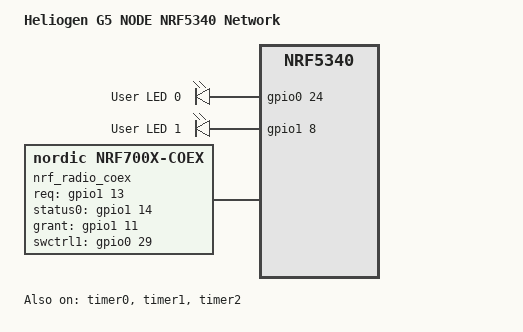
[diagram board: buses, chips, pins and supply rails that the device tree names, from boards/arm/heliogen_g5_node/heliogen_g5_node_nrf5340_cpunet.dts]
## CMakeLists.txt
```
#
# Copyright (c) 2022 Nordic Semiconductor ASA
#
# SPDX-License-Identifier: LicenseRef-Nordic-5-Clause
#

cmake_minimum_required(VERSION 3.20.0)

# find_package(Git)

# if(GIT_FOUND)
# 	execute_process(
# 		COMMAND git describe --tags --long
# 		WORKING_DIRECTORY ${CMAKE_CURRENT_SOURCE_DIR}
# 		OUTPUT_VARIABLE version
# 		OUTPUT_STRIP_TRAILING_WHITESPACE
# 		ERROR_STRIP_TRAILING_WHITESPACE
# 		ERROR_VARIABLE stderr
# 		RESULT_VARIABLE return_code
# 	)

# 	if(return_code)
# 		message(STATUS "git describe failed: ${stderr}; ${KERNEL_VERSION_STRING} will be used instead")
# 	elseif(CMAKE_VERBOSE_MAKEFILE)
# 		message(STATUS "git describe stderr: ${stderr}")
# 	endif()
# endif()

# if(version)
# 	string(REGEX REPLACE "^([0-9]+).*$" "\\1" version_major ${version})
# 	string(REGEX REPLACE "^[0-9]+\.([0-9]+).*$" "\\1" version_minor "${version}")
# 	string(REGEX REPLACE "^[0-9]+\.[0-9]+\.([0-9]+).*$" "\\1" version_patch "${version}")
# 	string(REGEX REPLACE "^[0-9]+\.[0-9]+\.[0-9]+-([0-9]+)-.*$" "\\1" version_commit "${version}")
# 	string(REGEX REPLACE "^[0-9]+\.[0-9]+\.[0-9]+-[0-9]+-(.*)$" "\\1" version_hash "${version}")

# 	# Create version.conf
# 	file(WRITE conf/version.conf "CONFIG_APP_VERSION_MAJOR=${version_major}\n")
# 	file(APPEND conf/version.conf "CONFIG_APP_VERSION_MINOR=${version_minor}\n")
# 	file(APPEND conf/version.conf "CONFIG_APP_VERSION_PATCH=${version_patch}\n")
# 	file(APPEND conf/version.conf "CONFIG_APP_VERSION_COMMIT=${version_commit}\n")
# 	file(APPEND conf/version.conf "CONFIG_APP_VERSION_HASH=\"${version_hash}\"\n")
# 	file(APPEND conf/version.conf "CONFIG_APP_VERSION=\"${version}\"\n")
# 	file(APPEND conf/version.conf "CONFIG_MCUBOOT_IMGTOOL_SIGN_VERSION=\"${version_major}.${version_minor}.${version_patch}+${version_commit}\"\n")

# 	message(STATUS "Building Tagged Firmware Version: ${version_major}.${version_minor}.${version_patch}-${version_commit}-${version_hash}")
# endif()

# Define configuration files.
list(APPEND CONF_FILE
	${CMAKE_CURRENT_SOURCE_DIR}/prj.conf
	# ${CMAKE_CURRENT_SOURCE_DIR}/conf/version.conf
)

# Disabled: module approach has ordering issues with MCUboot signing
list(APPEND ZEPHYR_EXTRA_MODULES ${CMAKE_CURRENT_LIST_DIR})

find_package(Zephyr REQUIRED HINTS $ENV{ZEPHYR_BASE})
project(cluster_node_multi_image_fota)

# ########################## NET CORE CHILD IMAGE ##########################
# if(BOARD STREQUAL "heliogen_g5_node_nrf5340_cpuapp" OR
#    BOARD STREQUAL "heliogen_g5_node_nrf5340_cpuapp_ns")
#   # Inject PCD config into MCUboot for network core update support
#   add_overlay_config(
#     mcuboot
#     "${ZEPHYR_NRF_MODULE_DIR}/subsys/pcd/pcd.conf"
#   )
# 	# Optional: inject secure_boot.conf overlay for net core (B0n)
# 	# add_overlay_config(
# 	#   empty_net_core
# 	#   "${ZEPHYR_NRF_MODULE_DIR}/subsys/bootloader/secure_boot.conf"
# 	# )
#   # Note: secure_boot.conf is NOT injected into empty_net_core.
#   # B0n is not needed — MCUboot on the app core handles net core FOTA via PCD.
#   # Adding B0n would require PM_CPUNET_B0N_CONTAINER_SIZE which causes
#   # circular build dependencies.
#   add_child_image(
#     NAME empty_net_core
#     SOURCE_DIR ${CMAKE_CURRENT_SOURCE_DIR}/net_ipc
#     DOMAIN CPUNET
#     BOARD heliogen_g5_node_nrf5340_cpunet
#   )
# endif()
# ########################## NET CORE CHILD IMAGE ##########################

target_include_directories(app PUBLIC ${ZEPHYR_BASE}/subsys/net/ip)

# Include application headers
zephyr_library_include_directories(src)
zephyr_library_include_directories(src/bsp)
zephyr_library_include_directories(src/bsp/id)
zephyr_library_include_directories(src/events)
zephyr_library_include_directories(src/hal)
zephyr_library_include_directories(src/threads)
zephyr_library_include_directories(src/transport)
zephyr_library_include_directories(src/data)
zephyr_library_include_directories(src/data/types)
zephyr_library_include_directories(src/data/json)
zephyr_library_include_directories(src/data/mqtt)
zephyr_library_include_directories(src/services)
zephyr_library_include_directories(src/cfg)
zephyr_library_include_directories(src/storage)
zephyr_library_include_directories(src/utils)
zephyr_library_include_directories(src/sys)
zephyr_library_include_directories(src/threads/manager)
zephyr_library_include_directories(src/services/http_update)
zephyr_library_include_directories(src/services/publisher)

target_sources(app PRIVATE
	src/main.c
)

# # Ensure pm_config.h is available for net core child image
# add_custom_command(
# 	TARGET app POST_BUILD
# 	COMMAND ${CMAKE_COMMAND} -E copy_if_different
# 		${CMAKE_BINARY_DIR}/include/generated/pm_config.h
# 		${CMAKE_BINARY_DIR}/empty_net_core/zephyr/include/generated/pm_config.h
# )

# threads
target_sources(app PRIVATE
	src/threads/manager/manager_thread.c
	src/threads/manager/manager_thread_monitor.c
	src/threads/manager/manager_connectivity_monitor.c
	src/threads/status_obj.c
	src/threads/power_obj.c
	# Sadman: activate TCP-based time sync
	src/threads/time_sync.c
)

if(CONFIG_LED_THREAD)
	target_sources(app PRIVATE
		src/threads/led_thread.c
		src/threads/led_timer.c
		src/threads/led_patterns.c
		src/shell_cmds/shell_led.c
	)
endif()

if(CONFIG_WIFI)
	target_sources(app PRIVATE
		src/threads/wifi_thread.c
	)
endif()

if(CONFIG_POWER_THREAD)
	target_sources(app PRIVATE
		src/threads/power_thread.c
	)
endif()

# events
target_sources(app PRIVATE
	src/events/wifi_events.c
	src/events/ota_dfu_events.c
	src/events/transport_events.c
	src/events/power_events.c
)

# bsp
target_sources(app PRIVATE
	src/bsp/helio_spi_flash.c
	src/bsp/helio_gpio.c
	src/bsp/helio_ntc.c
	src/bsp/helio_pid.c
	src/bsp/helio_pwm.c
	src/bsp/helio_saadc.c
	src/bsp/helio_timer.c
	src/bsp/led.c
)

# Include bsp id makefile
if(CONFIG_WIFI)
	add_subdirectory(src/bsp/id)
endif()

# cfg
target_sources(app PRIVATE
	src/cfg/cfg.c
	src/cfg/cfg_defaults.c
	src/cfg/cfg_json.c
	src/cfg/cfg_shell.c
)

# data
if(CONFIG_WIFI)
	if(CONFIG_MQTT_HELPER_HELIOGEN)

		target_sources(app PRIVATE
			src/services/publisher/pubs.c
			src/services/publisher/pub_table.c

			# src/services/publisher/template_pub.c
			src/services/publisher/mppt_pub.c
			src/services/publisher/ota_dfu_pub.c
			src/services/publisher/wifi_stats_pub.c
			src/services/publisher/status_pub.c
			src/services/publisher/sys_pub.c
			# # Sadman's edit
			src/services/publisher/ncla_pub.c
			src/services/publisher/cla_pub.c

			src/data/mqtt/mqtt_common.c
			src/data/mqtt/lwt_pub_mqtt.c
			src/data/mqtt/reboot_mqtt.c
			src/data/mqtt/status_mqtt.c
			src/data/mqtt/mppt_pub_mqtt.c
			src/data/mqtt/ota_dfu_mqtt.c
			src/data/mqtt/sys_pub_mqtt.c
			src/data/mqtt/fs_sub_mqtt.c
			src/data/mqtt/wifi_stats_pub_mqtt.c
			src/data/mqtt/remote_pub_sub_mqtt.c
			# Sadman's edit
			# src/data/mqtt/rtt_mqtt.c
			src/data/mqtt/control_mqtt.c
			src/data/mqtt/start_mqtt.c
			src/data/mqtt/node_id_mqtt.c
			src/data/mqtt/ncla_pub_mqtt.c
			src/data/mqtt/cla_pub_mqtt.c

			src/data/json/reboot_json.c
			src/data/json/status_json.c
			src/data/json/ota_dfu_json.c
			src/data/json/sys_pub_json.c
			src/data/json/fs_sub_json.c
			src/data/json/mppt_pub_json.c
			src/data/json/wifi_stats_pub_json.c
			src/data/json/remote_pub_sub_json.c
			# Sadman's edit
			# src/data/json/rtt_json.c
			src/data/json/control_json.c
			src/data/json/start_json.c
			src/data/json/node_id_json.c
			src/data/json/ncla_pub_json.c
			src/data/json/cla_pub_json.c
		)
	else()
		target_sources(app PRIVATE
			src/data/json/status_json.c
		)
	endif()
else()
	target_sources(app PRIVATE
		src/data/json/status_json.c
	)
endif()

# services
if(CONFIG_MCUMGR)
	target_sources(app PRIVATE
		src/services/mcumgr_service.c
	)
endif()

# file system
target_sources(app PRIVATE
	src/storage/storage.c
	src/storage/storage_counter.c
	src/storage/fs_shell.c
)

if(CONFIG_STORAGE_TEST)
	target_sources(app PRIVATE
		src/storage/storage_test.c
	)
endif()

# http OTA DFU
if(CONFIG_DEBUG)
else()
	target_sources(app PRIVATE
		src/services/http_update/http_update.c
	)
endif()

if(CONFIG_MQTT_HELPER_HELIOGEN) # Include transport folder makefile#
	add_subdirectory(src/transport)
endif()

# utils
target_sources(app PRIVATE
	src/utils/string_utils.c
	src/utils/get_nearest_element_index.c
	src/utils/jitter.c
	src/utils/get_random_number.c
)

# system utils
target_sources(app PRIVATE
	src/sys/app_version.c
	src/sys/boot_count.c
	src/sys/eol_test_result.c
	src/sys/reset_cause.c
	src/sys/sys_watchdog.c
	src/sys/retained_ram.c
	src/sys/assert_post_action.c
	src/sys/fatal_error_handler.c
	src/sys/reboot_timer.c
	src/sys/reboot_timer.c
)

# shell commands
target_sources(app PRIVATE
	src/shell_cmds/shell_error.c
	src/shell_cmds/shell_version.c
	src/shell_cmds/shell_reboot.c
	src/shell_cmds/shell_boot_count.c
	src/shell_cmds/manager_shell.c
	src/shell_cmds/shell_sys.c
	src/shell_cmds/shell_dhcp.c
	src/shell_cmds/shell_mppt.c
	src/shell_cmds/shell_mqtt.c
	src/shell_cmds/shell_retained_ram.c
	src/shell_cmds/shell_stats.c
	src/shell_cmds/shell_eol.c
)

if(CONFIG_DEBUG)
else()
	target_sources(app PRIVATE
		src/shell_cmds/http_update_shell.c
	)
endif()

# # Make sure Partition Manager generated files (pm_config.h etc.) exist before the
# # CPUNET child image starts compiling. This guards against the classic
# # "pm_config.h: No such file or directory" failure when the child image is
# # added too late in the CMake configure order.
# if (TARGET partition_manager AND TARGET net_ipc_subimage)
#   add_dependencies(net_ipc_subimage partition_manager)
# endif()
```

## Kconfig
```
#
# Copyright (c) 2022 Nordic Semiconductor
#
# SPDX-License-Identifier: LicenseRef-Nordic-5-Clause
#

source "Kconfig.zephyr"

# menu "G5 node multi-image"

# This symbol is often hidden (no prompt) in NCS, but Nordic has shown you can
# add a prompt/default here so you can force it off in prj.conf.
# config NCS_SAMPLE_EMPTY_NET_CORE_CHILD_IMAGE
# 	bool "Build default empty network core child image"
# 	default n

# config G5_NODE_INCLUDE_NET_IPC_CHILD_IMAGE
# 	bool "Build net_ipc as CPUNET child image"
# 	default y
# 	depends on SOC_NRF5340_CPUAPP

# endmenu

config HELIOGEN_CONFIG_FILE_CONFIG
	string "Init file pointer"
	default "cfg_file.txt"
	help
	  Specify the file that points the initial configuration

config HELIOGEN_CONFIG_FILE_DEFAULT
	string "Default config file"
	default "cfg.json"
	help
	  Specify the file that contains the initial configuration

menu "Heliogen g5nrf"
config USB_DEVICE_PID
	hex
	default 0x1DAD

config USB_DEVICE_VID
	hex
	default 0xB0DD
	
config HELIOGEN_SSID_24GHZ
	string "SSID 2.4GHz"
	help
	  Specify the 2.4GHz SSID to connect

config HELIOGEN_SSID_5GHZ
	string "SSID 5GHz"
	help
	  Specify the 5GHz SSID to connect

config HELIOGEN_PASSWORD
	string "Passphrase (WPA2) or password (WPA3)"
	help
	  Specify the Password to connect - leave blank for Open Security

config HELOGEN_WIFI_BOOT_DELAY
	int "Seconds to wait after boot before connecting to wifi"
	default 15
	help
	  Specify how long to wait after boot before connecting to wifi

config HELIOGEN_PASSWORD
	string "Passphrase (WPA2) or password (WPA3)"
	help
	  Specify the Password to connect

config HELIOGEN_QSPI_ENCRYPTION_KEY
	string "16 bytes QSPI encryption key, only for testing purposes"
	help
	  Specify the QSPI encryption key

endmenu

menu "App Version"

config APP_VERSION_MAJOR
	int "Major version number"
	default 0

config APP_VERSION_MINOR
	int "Minor version number"
	default 0

config APP_VERSION_PATCH
	int "Patch version number"
	default 0

config APP_VERSION_COMMIT
	int "Commit version number"
	default 0

config APP_VERSION_HASH
	string "Version hash provided by Git"
	default ""

config APP_VERSION
	string "Full version"
	default ""

endmenu # App version

menuconfig MQTT_HELPER_HELIOGEN
	bool "'Heliogen MQTT helper library"
	select NET_SOCKETS_POSIX_NAMES if !POSIX_API
	select MQTT_LIB
	help
	  Convenience library that simplifies Zephyr MQTT API and socket handling.

if MQTT_HELPER_HELIOGEN

config MQTT_HELPER_HELIOGEN_NATIVE_TLS
	bool "Native TLS socket"
	help
	  Enabling this option will configure the socket to be native for TLS
	  instead of offloading TLS operations to the device's networking stack.

config MQTT_HELPER_HELIOGEN_PORT
	int "MQTT broker port"
	default 8883 if MQTT_LIB_TLS
	default 1883
	help
	  Port number to connect to the MQTT broker.

config MQTT_HELPER_HELIOGEN_SEC_TAG
	int "TLS sec tag"
	depends on MQTT_LIB_TLS
	default -1
	help
	  Security tag where TLS credentials are stored.

config MQTT_HELPER_HELIOGEN_SEND_TIMEOUT
	bool "Send data with socket timeout"
	default y
	help
	  Configures a timeout on the MQTT socket to ensure that a call to the send
	  function will not block indefinitely. To configure the length of the timeout,
	  use MQTT_HELPER_HELIOGEN_SEND_TIMEOUT_SEC.

config MQTT_HELPER_HELIOGEN_SEND_TIMEOUT_SEC
	int "Send timeout"
	depends on MQTT_HELPER_HELIOGEN_SEND_TIMEOUT
	default 60
	help
	  Timeout in seconds to use when the MQTT socket is configured to
	  send with a timeout by enabling MQTT_HELPER_HELIOGEN_SEND_TIMEOUT.

config MQTT_HELPER_HELIOGEN_STATIC_IP_ADDRESS
	string "Static IP address"
	help
	  Set a static IP address to use when connecting to the MQTT broker.
	  Leave the string empty to use DNS to resolve the IoT Hub hostname instead.

config MQTT_HELPER_HELIOGEN_SECONDARY_SEC_TAG
	int "Secondary TLS sec tag"
	default -1
	help
	  Security tag where TLS credentials are stored.
	  The secondary tag can be used to store for instance an additional server certificate.
	  -1 indicates that the secondary sec tag is not used.

config MQTT_HELPER_HELIOGEN_STACK_SIZE
	int "Connection thread stack size"
	default 2560
	help
	  The stack size of the internal thread in the library.
	  The thread polls the MQTT socket while it's open.
	  All MQTT-related callbacks happen in context of this thread, so the stack size may have
	  to be adjusted for your needs.

config MQTT_HELPER_HELIOGEN_RX_TX_BUFFER_SIZE
	int "Buffer sizes for the MQTT library"
	default 256
	help
	  Specifies maximum message size can be transmitted/received through
	  MQTT (exluding MQTT PUBLISH payload).

config MQTT_HELPER_HELIOGEN_PAYLOAD_BUFFER_LEN
	int "Size of the MQTT PUBLISH payload buffer (receiving MQTT messages)"
	default 2048 if NRF_MODEM_LIB
	default 4096

config MQTT_HELPER_HELIOGEN_PROVISION_CERTIFICATES
	bool "Run-time provisioning of certificates"
	depends on (BOARD_QEMU_X86 || BOARD_NATIVE_POSIX || BOARD_NRF7002DK_NRF5340_CPUAPP) && MQTT_LIB_TLS
	default y
	imply MBEDTLS_PEM_CERTIFICATE_FORMAT if MBEDTLS
	help
	  Enable run-time provisioning of certificates from the
	  certificates header file selected by using MQTT_HELPER_HELIOGEN_CERTIFICATES_FILE
	  This option is only available for emulation build targets,
	  such as QEMU x86 or Native Posix.
	  This option is only intended for testing and should not be used in a production scenario.
	  Enabling this option means that the credentials used in the TLS communication towards the
	  server will be exposed in flash memory.

config MQTT_HELPER_HELIOGEN_CERTIFICATES_FILE
	string "TLS certificates"
	depends on MQTT_HELPER_HELIOGEN_PROVISION_CERTIFICATES
	default "../cert/mqtt-certs.h"
	help
	  The default path for a header file that contains definitions for certificates that are
	  used during run-time provisioning of TLS credentials.
	  By default, the library expects the credentials to be in
	  Privacy Enhanced Mail (PEM) format. See "mqtt-certs.h" for a template.

module = MQTT_HELPER_HELIOGEN
module-str = MQTT helper library
source "subsys/logging/Kconfig.template.log_config"

endif # MQTT_HELPER_HELIOGEN
menu "Transport"
	depends on MQTT_HELPER_HELIOGEN
	depends on HW_ID_LIBRARY

config MQTT_TRANSPORT_THREAD_PRIORITY
	depends on MQTT_HELPER_HELIOGEN
	int "Thread priority"
	default 3
	help
	  Priority of the module's internal thread.

config MQTT_TOPIC_STRING_MAX_SIZE
	depends on MQTT_HELPER_HELIOGEN
	int "topic maximum string size"
	default 64
	help
	  Maximum size of the mqtt topic string.

config MQTT_PAYLOAD_STRING_MAX_SIZE
	depends on MQTT_HELPER_HELIOGEN
	int "Payload maximum string size"
	default 2048
	help
	  Maximum size of the string included messages that are sent over the payload channel.

config MQTT_TRANSPORT_RECONNECTION_TIMEOUT_SECONDS
	depends on MQTT_HELPER_HELIOGEN
	int "Reconnection timeout in seconds"
	default 60
	help
	  Time in between reconnection attempts to the MQTT broker.

config MQTT_TRANSPORT_RESUBSCRIPTION_TIMEOUT_SECONDS
	depends on MQTT_HELPER_HELIOGEN
	int "Resubscription timeout in seconds"
	default 60
	help
	  Time in between reconnection attempts to the MQTT broker.

config MQTT_TRANSPORT_THREAD_STACK_SIZE
	depends on MQTT_HELPER_HELIOGEN
	int "Thread stack size"
	default 4096

config MQTT_TRANSPORT_MESSAGE_QUEUE_SIZE
	depends on MQTT_HELPER_HELIOGEN
	int "Message queue size"
	default 20
	help
	  ZBus subscriber message queue size.

config TRANSPORT_MSGQ_LEN
		depends on MQTT_HELPER_HELIOGEN
		int "transport queue size"
		default 50
		help
		  Fw transport queue size.

config MQTT_TRANSPORT_WORKQUEUE_STACK_SIZE
	depends on MQTT_HELPER_HELIOGEN
	int "Workqueue stack size"
	default 4096
	help
	  Stack size of the module's internal workqueue.

config MQTT_TRANSPORT_BROKER_HOSTNAME
	depends on MQTT_HELPER_HELIOGEN
	string "MQTT broker hostname"
	default "test.mosquitto.org"

config MQTT_TRANSPORT_CLIENT_ID
	depends on MQTT_HELPER_HELIOGEN
	string "MQTT Client ID"
	default ""
	help
	  Use a custom client ID string. If not set, the client ID will default to the mac address
		of the Nordic 7002 chip.
	  
config MQTT_TRANSPORT_CLIENT_ID_BUFFER_SIZE
	depends on MQTT_HELPER_HELIOGEN
	int "MQTT Client ID buffer size"
	default 50
	help
	  Size of buffer used to store the MQTT client ID.

config MQTT_TRANSPORT_PUBLISH_TOPIC
	depends on MQTT_HELPER_HELIOGEN
	string "MQTT publish topic"
	default "my/publish/topic"

config MQTT_TRANSPORT_SUBSCRIBE_TOPIC
	depends on MQTT_HELPER_HELIOGEN
	string "MQTT subscribe topic"
	default "my/subscribe/topic"

module = MQTT_TRANSPORT
module-str = Transport
source "subsys/logging/Kconfig.template.log_config"

config TWT_ANNOUNCED_MODE
	bool "Enable announced mode"
	help
	  STA announces its wakeup to AP for every service period start.

config TWT_WAKE_INTERVAL
	int "TWT awake interval"
	help
	  The period where STA is awake and does data transfer, interval should be in us.
	default 65000

config TWT_INTERVAL
	int "TWT service interval"
	help
	  The period for TWT that includes both wake and sleep durations, interval should be in us.
	  Please note higher intervals can be rejected by AP or cause interoperability issues.
	default 524000

config COEX_ENABLE
	bool "Control if coexistence HW is enable"
	default y

config COEX_SEP_ANTENNAS
	bool "Control if the antennas are shared/serparate for BT and WLAN"
	default y

config COEX_BT_CENTRAL
	bool "BT device role"
	default y

endmenu # Transport

config LED_THREAD
	bool "Run LED thread"
	default true

config POWER_THREAD
	bool "Run power mgmt thread"
	default true
	
###############################################################
# Logging
###############################################################

# leverage the KConfig logging system template to configure the log levels
# for Heliogen modules.  The overlay-logging.conf file can be used to set the log levels
#menu "Heliogen Log Levels"
module = MAIN
module-str = main
source "subsys/logging/Kconfig.template.log_config"

module = FS
module-str = fs
source "subsys/logging/Kconfig.template.log_config"

module = STORAGE
module-str = storage
source "subsys/logging/Kconfig.template.log_config"

module = CFG
module-str = cfg
source "subsys/logging/Kconfig.template.log_config"

module = WIFI_THREAD
module-str = wifi_thread
source "subsys/logging/Kconfig.template.log_config"

module = MQTT_COMMON
module-str = mqtt_common
source "subsys/logging/Kconfig.template.log_config"

module = MANAGER_THREAD
module-str = manager
source "subsys/logging/Kconfig.template.log_config"

module = LED_THREAD
module-str = led
source "subsys/logging/Kconfig.template.log_config"

module = POWER_THREAD
module-str = power
source "subsys/logging/Kconfig.template.log_config"

module = MCUMGR
module-str = mcu_manager
source "subsys/logging/Kconfig.template.log_config"

module = HTTP_UPDATE
module-str = http_update
source "subsys/logging/Kconfig.template.log_config"

module = CFG_JSON
module-str = cfg_json
source "subsys/logging/Kconfig.template.log_config"

module = REBOOT_JSON
module-str = reboot_json
source "subsys/logging/Kconfig.template.log_config"

# Sadman's edit
module = RTT_JSON
module-str = rtt_json
source "subsys/logging/Kconfig.template.log_config"

module = CONTROL_JSON
module-str = control_json
source "subsys/logging/Kconfig.template.log_config"

module = START_JSON
module-str = start_json
source "subsys/logging/Kconfig.template.log_config"

module = NODE_ID_JSON
module-str = node_id_json
source "subsys/logging/Kconfig.template.log_config"

module = STATUS_JSON
module-str = status_json
source "subsys/logging/Kconfig.template.log_config"

module = OTA_DFU_JSON
module-str = ota_dfu_json
source "subsys/logging/Kconfig.template.log_config"

module = SYS_PUB_JSON
module-str = sys_pub_json
source "subsys/logging/Kconfig.template.log_config"

module = FS_SUB_JSON
module-str = fs_sub_json
source "subsys/logging/Kconfig.template.log_config"

module = MPPT_PUB_JSON
module-str = mppt_pub_json
source "subsys/logging/Kconfig.template.log_config"

module = MQTT_COMMON
module-str = mqtt_common
source "subsys/logging/Kconfig.template.log_config"

module = REBOOT_MQTT
module-str = reboot_mqtt
source "subsys/logging/Kconfig.template.log_config"

# Sadman's edit
module = RTT_MQTT
module-str = rtt_mqtt
source "subsys/logging/Kconfig.template.log_config"

module = CONTROL_MQTT
module-str = control_mqtt
source "subsys/logging/Kconfig.template.log_config"

module = START_MQTT
module-str = start_mqtt
source "subsys/logging/Kconfig.template.log_config"

module = NODE_ID_MQTT
module-str = node_id_mqtt
source "subsys/logging/Kconfig.template.log_config"

module = STATUS_MQTT
module-str = status_mqtt
source "subsys/logging/Kconfig.template.log_config"

module = MPPT_PUB_MQTT
module-str = mppt_pub_mqtt
source "subsys/logging/Kconfig.template.log_config"

module = OTA_DFU_MQTT
module-str = ota_dfu_mqtt
source "subsys/logging/Kconfig.template.log_config"

module = RESET_CAUSE
module-str = reset_cause
source "subsys/logging/Kconfig.template.log_config"

module = SYS_WDT
module-str = sys_wdt
source "subsys/logging/Kconfig.template.log_config"

module = FS_SUB_MQTT
module-str = fs_sub_mqtt
source "subsys/logging/Kconfig.template.log_config"

module = TEMPLATE_PUB_MQTT
module-str = template_pub_mqtt
source "subsys/logging/Kconfig.template.log_config"

module = TEMPLATE_SUB_MQTT
module-str = template_sub_mqtt
source "subsys/logging/Kconfig.template.log_config"

module = LED_PATTERNS
module-str = led_patterns
source "subsys/logging/Kconfig.template.log_config"

module = SYS
module-str = sys
source "subsys/logging/Kconfig.template.log_config"

module = SYS_PUB_MQTT
module-str = sys_pub_mqtt
source "subsys/logging/Kconfig.template.log_config"

module = TRANSPORT_QUEUE
module-str = transport_queue
source "subsys/logging/Kconfig.template.log_config"

module = WIFI_EVENTS
module-str = wifi_events
source "subsys/logging/Kconfig.template.log_config"

module = TRANSPORT_EVENTS
module-str = transport_events
source "subsys/logging/Kconfig.template.log_config"

module = WIFI_STATS_PUB_MQTT
module-str = wifi_stats_pub_mqtt
source "subsys/logging/Kconfig.template.log_config"

module = WIFI_STATS_PUB_JSON
module-str = wifi_stats_pub_json
source "subsys/logging/Kconfig.template.log_config"

module = WIFI_STATS
module-str = wifi_stats
source "subsys/logging/Kconfig.template.log_config"

# Sadman's edit
module = NCLA_PUB_MQTT
module-str = ncla_pub_mqtt
source "subsys/logging/Kconfig.template.log_config"

module = NCLA_PUB_JSON
module-str = ncla_pub_json
source "subsys/logging/Kconfig.template.log_config"

module = NCLA
module-str = ncla
source "subsys/logging/Kconfig.template.log_config"

module = CLA_PUB_MQTT
module-str = cla_pub_mqtt
source "subsys/logging/Kconfig.template.log_config"

module = CLA_PUB_JSON
module-str = cla_pub_json
source "subsys/logging/Kconfig.template.log_config"

module = CLA
module-str = cla
source "subsys/logging/Kconfig.template.log_config"

module = PUBS
module-str = pubs
source "subsys/logging/Kconfig.template.log_config"

module = REMOTE_PUB_JSON
module-str = remote_pub_json
source "subsys/logging/Kconfig.template.log_config"

module = REMOTE_PUB_MQTT
module-str = remote_pub_json
source "subsys/logging/Kconfig.template.log_config"


#endmenu
```

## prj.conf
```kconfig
#######################################################################
#MCUMGR - wifi only?
#######################################################################
# this whole block is commented out until we re-test it.
CONFIG_MCUMGR=n
# Enable most mcumgr core commands.
###       CONFIG_MCUMGR_CMD_IMG_MGMT=y
###       CONFIG_MCUMGR_CMD_OS_MGMT=y
###       CONFIG_MCUMGR_CMD_STAT_MGMT=y
###       #mcu manager shell
###       CONFIG_MCUMGR_CMD_SHELL_MGMT=y
###       # Required by the `taskstat` command.
###       CONFIG_THREAD_MONITOR=y
###       # Support for taskstat command
###       CONFIG_OS_MGMT_TASKSTAT=y
###       # Enable statistics and statistic names.
###       CONFIG_STATS=y
###       CONFIG_STATS_NAMES=y
###       # Add 256 bytes to accommodate upload command (lfs_stat overflows)
###       #CONFIG_SYSTEM_WORKQUEUE_STACK_SIZE=2304
###       # Enable file system commands
###       CONFIG_MCUMGR_CMD_FS_MGMT=n
###       
###       # Enable the UDP mcumgr transports.
###       CONFIG_MCUMGR_SMP_UDP=y
###       CONFIG_MCUMGR_SMP_UDP_IPV4=y
###       CONFIG_MCUMGR_SMP_UDP_IPV6=y
###       CONFIG_THREAD_STACK_INFO=y
###       CONFIG_THREAD_NAME=y
###       
###       CONFIG_MCUMGR_SMP_UDP_PORT=1337
###       #Stack size of the SMP UDP listening thread
###       CONFIG_MCUMGR_SMP_UDP_STACK_SIZE=1024 
###       #Scheduling priority of the SMP UDP listening thread.
###       CONFIG_MCUMGR_SMP_UDP_THREAD_PRIO=0 
###       #	  Maximum size of SMP frames sent and received over UDP, in bytes.
###       #	  This value must satisfy the following relation:
###       #	  MCUMGR_SMP_UDP_MTU <= MCUMGR_BUF_SIZE + SMP msg overhead - address size
###       #	  where address size is determined by IPv4/IPv6 selection.
###       CONFIG_MCUMGR_SMP_UDP_MTU=1500
###       #	  Enable setting up the UDP SMP transport at boot time without needing
###       #	  any code in the application to do this. Will automatically start the
###       #	  UDP SMP service when the network interface is up and disable it when
###       #	  it goes down (at layer 4).
###       CONFIG_MCUMGR_TRANSPORT_UDP_AUTOMATIC_INIT=y
###       
###       #END MCU MGR SETTINGS
###       
#######################################################################
#END MCUMGR 
#######################################################################

############### IPC CONFIGS ###############
CONFIG_BOARD_ENABLE_CPUNET=y
CONFIG_IPC_SERVICE=y
CONFIG_IPC_SERVICE_BACKEND_ICMSG=y
CONFIG_MBOX=y
CONFIG_MBOX_NRFX_IPC=y
############### IPC CONFIGS ###############

############### NET CORE CHILD IMAGE ###############
# CONFIG_NCS_SAMPLE_EMPTY_NET_CORE_CHILD_IMAGE=n
# CONFIG_PARTITION_MANAGER_ENABLED=y
# Enable multi-image update support (MCUboot image0 + network-core image1)
# Needed to generate the CPUNET B0N container partitions/macros used by PCD
CONFIG_NRF53_UPGRADE_NETWORK_CORE=y
# CONFIG_UPDATEABLE_IMAGE_NUMBER=2
CONFIG_PCD=y
CONFIG_PCD_APP=y
# CONFIG_PCD_NET_CORE_APP_OFFSET=0x8800
############### NET CORE CHILD IMAGE ###############

# Anomaly 160 workaround
CONFIG_SYS_CLOCK_EXISTS=y
CONFIG_NET_CONFIG_LOG_LEVEL_ERR=y

# LDO mode for wireless node
CONFIG_BOARD_ENABLE_DCDC_APP=y
CONFIG_BOARD_ENABLE_DCDC_NET=y
CONFIG_BOARD_ENABLE_DCDC_HV=y

# new SDK 2.5.0
CONFIG_NET_SOCKETS=y
CONFIG_WPA_SUPP=y
CONFIG_NET_CONFIG_INIT_TIMEOUT=0
CONFIG_NET_SOCKETS_POLL_MAX=10
CONFIG_POSIX_MAX_FDS=16

# System settings
CONFIG_INIT_STACKS=y
CONFIG_NEWLIB_LIBC=y
CONFIG_NEWLIB_LIBC_NANO=n
CONFIG_REBOOT=y

# Memories
CONFIG_HEAP_MEM_POOL_SIZE=160000
CONFIG_MAIN_STACK_SIZE=4096
CONFIG_SHELL_STACK_SIZE=4096
CONFIG_SYSTEM_WORKQUEUE_STACK_SIZE=8192
CONFIG_STACK_USAGE=y


# Sadman's edit
CONFIG_SHELL_BACKEND_SERIAL_RX_RING_BUFFER_SIZE=1024
CONFIG_SHELL_BACKEND_SERIAL_TX_RING_BUFFER_SIZE=1024


# Kernel options
CONFIG_ENTROPY_GENERATOR=y
CONFIG_BUILTIN_STACK_GUARD=y

# Enabling assert
CONFIG_ASSERT=y
CONFIG_ASSERT_VERBOSE=y
CONFIG_ASSERT_LEVEL=2
CONFIG_RESET_ON_FATAL_ERROR=n
CONFIG_ASSERT_NO_MSG_INFO=n

#RTT
CONFIG_USE_SEGGER_RTT=y
#this enables shell on RTT - already enabled on serial
CONFIG_SHELL_BACKEND_RTT=y
CONFIG_SEGGER_RTT_BUFFER_SIZE_DOWN=256

#shell config
CONFIG_SHELL=y
CONFIG_POSIX_CLOCK=y
#enables reboot (cold or warm) via shell
# CONFIG_REBOOT=y

#future options
#CONFIG_SERIAL=y
#CONFIG_UART_CONSOLE=y
# CONFIG_CONSOLE=y
# CONFIG_RTT_CONSOLE=y
#CONFIG_LOG_BACKEND_NET=y  - log over udp unecrypted
#CONFIG_LOG_BACKEND_NET_SERVER="1.2.3.4":10514"  - server ip

#UDP logging
CONFIG_LOG_BACKEND_NET=n
#CONFIG_LOG_BACKEND_NET_SERVER="10.0.0.200:514"
#CONFIG_LOG_BACKEND_NET_AUTOSTART=n

#can also log to a file system....


# Configuration required by Application Event Manager
CONFIG_APP_EVENT_MANAGER=y

#TODO use DFU firmware info
#CONFIG_FW_INFO=y
#CONFIG_FW_INFO_MAGIC_FIRMWARE_INFO=
#CONFIG_FW_INFO_FIRMWARE_VERSION=1.0.1

# Low level configs
CONFIG_NRFX_SAADC=y
CONFIG_NRFX_TIMER0=y
CONFIG_NRFX_TIMER1=y
CONFIG_NRFX_TIMER2=y
CONFIG_NRFX_DPPI=y

# Sadman's edit
# CONFIG_NRFX_GPIOTE0=y
CONFIG_NRFX_GPIOTE=y

CONFIG_PWM=y

# comment back in if using the PDK
#CONFIG_NRF700X_REV_A=y

#CONFIG_STDOUT_CONSOLE=y
CONFIG_CBPRINTF_FP_SUPPORT=y

#Quad SPI bus
CONFIG_NRFX_QSPI=y #7002 wi-fi chip is on QSPI


#SPI
CONFIG_SPI=y
CONFIG_SPI_NOR=y
CONFIG_SPI_NOR_FLASH_LAYOUT_PAGE_SIZE=4096
CONFIG_SPI_ASYNC=y

#SPI Flash
CONFIG_FLASH=y  #this seems to be needed for spi flash macros and ordinals
CONFIG_FLASH_PAGE_LAYOUT=y
CONFIG_FLASH_MAP=y

## Enable the LittleFS file system. - needs mcuboot to be flashed on chip!
CONFIG_FILE_SYSTEM=y
CONFIG_FILE_SYSTEM_LITTLEFS=y
CONFIG_PM_PARTITION_REGION_LITTLEFS_EXTERNAL=y


#JSON
CONFIG_JSON_LIBRARY=y

# Zephyr state framework
CONFIG_SMF=y

# IRQ settings - TODO - understand these
#CONFIG_MULTI_LEVEL_INTERRUPTS=y
#CONFIG_2ND_LEVEL_INTERRUPTS=y
#CONFIG_3RD_LEVEL_INTERRUPTS=y
#The support for zero-latency interrupts requires 
#CONFIG_ZERO_LATENCY_IRQS=y
#to be enabled. In addition to that, the flag IRQ_ZERO_LATENCY 
#must be passed to IRQ_CONNECT or IRQ_DIRECT_CONNECT macros to 
#configure the particular interrupt with zero latency.


#Heliogen config sytem file setup
CONFIG_HELIOGEN_CONFIG_FILE_CONFIG="cfg_file.txt"
CONFIG_HELIOGEN_CONFIG_FILE_DEFAULT="cfg.json"


#######################################################################
# settings to reduce flash memory footprint
#######################################################################
# CONFIG_NRF_CLOUD_ALERTS_LOG_LEVEL_OFF=y
CONFIG_NRF_CLOUD_LOG_LEVEL_OFF=y
CONFIG_APP_EVENT_MANAGER_SHELL=n
CONFIG_APP_EVENT_MANAGER_LOG_LEVEL_OFF=y
CONFIG_MGMT_FMFU_LOG_LEVEL_OFF=y
CONFIG_ZTEST_MULTICORE_DEFAULT_SETTINGS=n
CONFIG_APP_EVENT_MANAGER_SHOW_EVENTS=n
CONFIG_APP_EVENT_MANAGER_LOG_EVENT_TYPE=n
CONFIG_MPSL_LOG_LEVEL_OFF=y
CONFIG_KERNEL_LOG_LEVEL_OFF=y
CONFIG_INTC_LOG_LEVEL_OFF=y
CONFIG_USBC_LOG_LEVEL_OFF=y
#######################################################################
# end settings to reduce flash memory footprint
#######################################################################



#TODO do I need these
CONFIG_NETWORKING=y
CONFIG_NET_SOCKETS=y
CONFIG_NET_NATIVE=y
#CONFIG_COAP=y
# TODO play with timeout
CONFIG_NET_CONTEXT_RCVTIMEO=y

#######################################################################
#LED
#######################################################################
CONFIG_LED_THREAD=n

#######################################################################
#Wi-Fi
#######################################################################
CONFIG_NET_DHCPV4=y
CONFIG_NET_HOSTNAME_ENABLE=y
CONFIG_NET_HOSTNAME="g5node-"
CONFIG_NET_HOSTNAME_UNIQUE=y

CONFIG_POWER_THREAD=y

#######################################################################
# BLE CO-EX
#######################################################################

# Sadman's edit
# CONFIG_COEX_SEP_ANTENNAS=y
# CONFIG_COEX_ENABLE=y
# CONFIG_BT_DEVICE_NAME="Heliogen_Node"
# CONFIG_BT=y
# CONFIG_BT_SMP=y
# CONFIG_BT_PERIPHERAL=y
# CONFIG_BT_CENTRAL=y
# CONFIG_BT_MAX_CONN=2

# CONFIG_BT_SCAN=y
# CONFIG_BT_SCAN_FILTER_ENABLE=y
# CONFIG_BT_SCAN_UUID_CNT=1FSHELL

# CONFIG_BT_GATT_CLIENT=y
# CONFIG_BT_GATT_DM=y
# CONFIG_BT_THROUGHPUT=y

# CONFIG_BT_USER_DATA_LEN_UPDATE=y
# CONFIG_BT_USER_PHY_UPDATE=y
# CONFIG_BT_GAP_AUTO_UPDATE_CONN_PARAMS=n

# CONFIG_BT_BUF_ACL_RX_SIZE=502
# CONFIG_BT_ATT_PREPARE_COUNT=2
# CONFIG_BT_CONN_TX_MAX=10
# CONFIG_BT_L2CAP_TX_BUF_COUNT=10
# CONFIG_BT_L2CAP_TX_MTU=498
# CONFIG_BT_BUF_ACL_TX_SIZE=502
# CONFIG_BT_L2CAP_DYNAMIC_CHANNEL=y

# Umar: additional code for time libraries
CONFIG_POSIX_API=y
```

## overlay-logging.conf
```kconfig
###############################################################
# Logging
###############################################################
# Sadman's note: disabling all logging to remove RTT dependency
CONFIG_LOG=n
#printk is like printf and is not disable-able - use with caution

CONFIG_PRINTK=n
CONFIG_LOG_PRINTK=n
CONFIG_LOG_BUFFER_SIZE=8192
#logging can be in deferred OR immediate mode.  deferred prints in bg thread
CONFIG_LOG_MODE_DEFERRED=n
#CONFIG_LOG_MODE_IMMEDIATE=n   # DOES NOT WORK - turn on immeadiate instead for sys crashes etc.
CONFIG_LOG_INFO_COLOR_GREEN=n
# CONFIG_LOG_BACKEND_RTT=n
CONFIG_LOG_MODE_OVERFLOW=n
# set to zero to disable all logging at compile time
CONFIG_LOG_MAX_LEVEL=0
#network logging
CONFIG_NET_DHCPV4_LOG_LEVEL_ERR=n


#main.c 
CONFIG_MAIN_LOG_LEVEL_INF=n
#storage and configuration logging
CONFIG_FS_LOG_LEVEL_ERR=n
CONFIG_STORAGE_LOG_LEVEL_ERR=n
CONFIG_CFG_LOG_LEVEL_INF=n
#thread logging
CONFIG_WIFI_THREAD_LOG_LEVEL_ERR=n
CONFIG_POWER_THREAD_LOG_LEVEL_ERR=n
CONFIG_MANAGER_THREAD_LOG_LEVEL_ERR=n
CONFIG_LED_THREAD_LOG_LEVEL_ERR=n
#json logging
CONFIG_CFG_JSON_LOG_LEVEL_ERR=n
CONFIG_STATUS_JSON_LOG_LEVEL_ERR=n
CONFIG_FS_SUB_JSON_LOG_LEVEL_ERR=n
CONFIG_REBOOT_JSON_LOG_LEVEL_ERR=n
CONFIG_SYS_PUB_JSON_LOG_LEVEL_ERR=n
CONFIG_WIFI_STATS_PUB_JSON_LOG_LEVEL_ERR=n
CONFIG_REMOTE_PUB_JSON_LOG_LEVEL_ERR=n
#mqtt logging (zephyr stack)
CONFIG_MQTT_LOG_LEVEL_ERR=n
CONFIG_MQTT_HELPER_HELIOGEN_LOG_LEVEL_ERR=n
#mqtt logging (heliogen code)
CONFIG_MQTT_COMMON_LOG_LEVEL_ERR=n
CONFIG_MQTT_TRANSPORT_LOG_LEVEL_ERR=n
CONFIG_TRANSPORT_QUEUE_LOG_LEVEL_ERR=n
CONFIG_REBOOT_MQTT_LOG_LEVEL_ERR=n
CONFIG_STATUS_MQTT_LOG_LEVEL_ERR=n
CONFIG_SYS_PUB_MQTT_LOG_LEVEL_ERR=n
CONFIG_FS_SUB_MQTT_LOG_LEVEL_ERR=n
CONFIG_WIFI_STATS_PUB_MQTT_LOG_LEVEL_ERR=n
CONFIG_REMOTE_PUB_MQTT_LOG_LEVEL_ERR=n
# Sadman's edit
CONFIG_CONTROL_MQTT_LOG_LEVEL_ERR=n
CONFIG_RTT_MQTT_LOG_LEVEL_ERR=n

#CONFIG_TEMPLATE_PUB_MQTT_LOG_LEVEL_ERR=n
#CONFIG_TEMPLATE_SUB_MQTT_LOG_LEVEL_ERR=n
#mcumgr
CONFIG_MCUMGR_LOG_LEVEL_ERR=n
#http update
CONFIG_HTTP_UPDATE_LOG_LEVEL_INF=n
CONFIG_FOTA_DOWNLOAD_LOG_LEVEL_ERR=n
CONFIG_DOWNLOAD_CLIENT_LOG_LEVEL_ERR=n
CONFIG_NET_SOCKETS_LOG_LEVEL_ERR=n
#led logging
CONFIG_LED_PATTERNS_LOG_LEVEL_OFF=n
#watchdog timer
CONFIG_SYS_WDT_LOG_LEVEL_ERR=n
#reset_cause
CONFIG_RESET_CAUSE_LOG_LEVEL_OFF=n
#sys_pub logging
CONFIG_SYS_LOG_LEVEL_ERR=n
#event logging
CONFIG_WIFI_EVENTS_LOG_LEVEL_ERR=n
CONFIG_TRANSPORT_EVENTS_LOG_LEVEL_ERR=n
#wifi statistics logging
CONFIG_WIFI_STATS_LOG_LEVEL_ERR=n
# pubs - publishing scheduler logging
CONFIG_PUBS_LOG_LEVEL_INF=n
```

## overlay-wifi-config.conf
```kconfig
# WI-FI ONLY CONFIG
#These configurations are  needed for Wi-Fi 
CONFIG_WIFI=y
CONFIG_WIFI_NRF700X=y

# TWT
CONFIG_TWT_INTERVAL=5000000
CONFIG_TWT_WAKE_INTERVAL=100000
CONFIG_TWT_ANNOUNCED_MODE=y

# New for 2.5.0 SDK
CONFIG_NET_CONFIG_INIT_TIMEOUT=0
CONFIG_NET_SOCKETS_POLL_MAX=10
CONFIG_POSIX_MAX_FDS=16

CONFIG_HELIOGEN_SSID_24GHZ="G5-Heliostat-AP_4"
CONFIG_HELIOGEN_SSID_5GHZ="G5-Heliostat-AP-5GHz_4"
CONFIG_HELIOGEN_PASSWORD="mphGQ9s7G9pz"
CONFIG_HELOGEN_WIFI_BOOT_DELAY=15

#TODO: USE ZEPHYR-NORDIC WIFI CREDENTIALS MANAGER
#CONFIG_WIFI_CREDENTIALS=y
#CONFIG_WIFI_CREDENTIALS_SHELL=y
#CONFIG_SETTINGS=y
#CONFIG_WIFI_CREDENTIALS_BACKEND_SETTINGS=y
#CONFIG_SETTINGS_NVS=y

# Networking
CONFIG_NETWORKING=y
CONFIG_NET_SOCKETS=y
CONFIG_POSIX_API=n
CONFIG_NET_LOG=y
CONFIG_NET_IPV4=y
CONFIG_NET_UDP=y
CONFIG_NET_TCP=y
CONFIG_NET_DHCPV4=y
CONFIG_DNS_RESOLVER=y
CONFIG_NET_SOCKETS_CONNECT_TIMEOUT=10000
CONFIG_NET_DHCPV4_INITIAL_DELAY_MAX=10
#optional statistics
CONFIG_NET_STATISTICS=y
CONFIG_NET_STATISTICS_WIFI=y
CONFIG_NET_STATISTICS_USER_API=y

# WPA supplicant
CONFIG_WPA_SUPP=y
CONFIG_NET_L2_WIFI_SHELL=y
# Wi-Fi logging
CONFIG_WIFI_LOG_LEVEL_DBG=n #highly verbose - not recommended
CONFIG_NET_L2_WIFI_MGMT_LOG_LEVEL_ERR=y
CONFIG_NET_IF_LOG_LEVEL_ERR=y
CONFIG_NET_DHCPV4_LOG_LEVEL_ERR=y

CONFIG_NET_PKT_RX_COUNT=32
CONFIG_NET_PKT_TX_COUNT=32

# Below section is the primary contributor to SRAM and is currently
# tuned for performance, but this will be revisited in the future.
CONFIG_NET_BUF_RX_COUNT=32
CONFIG_NET_BUF_TX_COUNT=64
CONFIG_NET_BUF_DATA_SIZE=128
CONFIG_NET_TC_TX_COUNT=1

CONFIG_NET_MAX_CONTEXTS=5
CONFIG_NET_CONTEXT_SYNC_RECV=y

CONFIG_NET_L2_ETHERNET=y
CONFIG_NET_SHELL=y

#this section sets a static ip, but is overriden by DHCP
CONFIG_NET_CONFIG_SETTINGS=y
CONFIG_NET_CONFIG_MY_IPV4_ADDR="10.0.0.228"
CONFIG_NET_CONFIG_PEER_IPV4_ADDR="10.0.0.1"

#ipv6 settings - disabled to reduce flash memory footprint
#CONFIG_NET_IPV6=n
#CONFIG_NET_IF_UNICAST_IPV6_ADDR_COUNT=4
#CONFIG_NET_IF_MCAST_IPV6_ADDR_COUNT=5
#CONFIG_NET_CONFIG_MY_IPV6_ADDR="2001:db8::1"
#CONFIG_NET_CONFIG_PEER_IPV6_ADDR="2001:db8::2"

CONFIG_NET_TX_STACK_SIZE=4096
CONFIG_NET_RX_STACK_SIZE=4096
#CONFIG_NET_MGMT_EVENT_STACK_SIZE=2048  #this causes crash
#CONFIG_NET_MGMT_EVENT_STACK_SIZE must be big or stack will overflow
CONFIG_NET_MGMT_EVENT_STACK_SIZE=8192 

#some wi-fi configs from 2.3.0 wi-fi shell sample app  TODO: investigate
#CONFIG_NET_CONFIG_AUTO_INIT=n  ???
#CONFIG_WIFI_MGMT_EXT=y
#CONFIG_WIFI_CREDENTIALS=y
#CONFIG_WIFI_CREDENTIALS_BACKEND_SETTINGS=y



###
#MCUMGR - wifi only
###
#CONFIG_MCUMGR=y
## Enable most core commands.
#CONFIG_MCUMGR_CMD_IMG_MGMT=y
#CONFIG_MCUMGR_CMD_OS_MGMT=y
#CONFIG_MCUMGR_CMD_STAT_MGMT=y
##mcu manager shell
#CONFIG_MCUMGR_CMD_SHELL_MGMT=y
## Required by the `taskstat` command.
#CONFIG_THREAD_MONITOR=y
## Support for taskstat command
#CONFIG_OS_MGMT_TASKSTAT=y
## Enable statistics and statistic names.
#CONFIG_STATS=y
#CONFIG_STATS_NAMES=y
#


# Add 256 bytes to accommodate upload command (lfs_stat overflows)
#CONFIG_SYSTEM_WORKQUEUE_STACK_SIZE=2304
# Enable file system commands
#CONFIG_MCUMGR_CMD_FS_MGMT=n
# TODO defining a storage partition Flash map and mounting the filesystem in the startup (fs_mount()).

## Enable the UDP mcumgr transports.
#CONFIG_MCUMGR=y
#CONFIG_MCUMGR_SMP_UDP=y
#CONFIG_MCUMGR_SMP_UDP_IPV4=y
#CONFIG_MCUMGR_SMP_UDP_IPV6=y
#CONFIG_THREAD_STACK_INFO=y
#CONFIG_THREAD_NAME=y
#CONFIG_MCUMGR_LOG_LEVEL_DBG=y
#
#CONFIG_MCUMGR_SMP_UDP_PORT=1337
##Stack size of the SMP UDP listening thread
#CONFIG_MCUMGR_SMP_UDP_STACK_SIZE=1024 
##Scheduling priority of the SMP UDP listening thread.
#CONFIG_MCUMGR_SMP_UDP_THREAD_PRIO=0 
##	  Maximum size of SMP frames sent and received over UDP, in bytes.
##	  This value must satisfy the following relation:
##	  MCUMGR_SMP_UDP_MTU <= MCUMGR_BUF_SIZE + SMP msg overhead - address size
##	  where address size is determined by IPv4/IPv6 selection.
#CONFIG_MCUMGR_SMP_UDP_MTU=1500
##	  Enable setting up the UDP SMP transport at boot time without needing
##	  any code in the application to do this. Will automatically start the
##	  UDP SMP service when the network interface is up and disable it when
##	  it goes down (at layer 4).
#CONFIG_MCUMGR_TRANSPORT_UDP_AUTOMATIC_INIT=y
##CONFIG_MCUMGR_BUF_SIZE=1024
#


#######################################################################
# MQTT - all MQTT functionality is enabled by CONFIG_MQTT_HELPER_HELIOGEN=y
#######################################################################
CONFIG_MQTT_HELPER_HELIOGEN=y
CONFIG_MQTT_TRANSPORT_THREAD_PRIORITY=2
CONFIG_MQTT_CLEAN_SESSION=y
#MQTT broker IP address
#CONFIG_MQTT_HELPER_HELIOGEN_STATIC_IP_ADDRESS="10.0.0.200"
#CONFIG_MQTT_HELPER_HELIOGEN_STATIC_IP_ADDRESS="10.16.0.22" #LANCASTER
#CONFIG_MQTT_HELPER_HELIOGEN_STATIC_IP_ADDRESS="10.0.0.200" #Wally Home
#CONFIG_MQTT_HELPER_HELIOGEN_STATIC_IP_ADDRESS="10.10.20.238"#pasadena
#CONFIG_MQTT_HELPER_HELIOGEN_STATIC_IP_ADDRESS="10.20.20.71 #long beach
CONFIG_MQTT_TRANSPORT_BROKER_HOSTNAME="10.30.224.10"

CONFIG_MQTT_TOPIC_STRING_MAX_SIZE=64
CONFIG_MQTT_PAYLOAD_STRING_MAX_SIZE=2548
CONFIG_MQTT_TRANSPORT_RECONNECTION_TIMEOUT_SECONDS=30
#CONFIG_MQTT_HELPER_HELIOGEN_SEND_TIMEOUT=y #TODO - play with this
#CONFIG_MQTT_HELPER_HELIOGEN_SEND_TIMEOUT_SEC=15 #TODO - play with this
#using broker hostname is not working on my home network, why? - use static ip instead
#TODO: should we be using a hostname instead? requires DNS locally etc...
#CONFIG_MQTT_TRANSPORT_BROKER_HOSTNAME="he-wally-mbp-2.local"
CONFIG_MQTT_HELPER_HELIOGEN_SEND_TIMEOUT=y
CONFIG_MQTT_HELPER_HELIOGEN_SEND_TIMEOUT_SEC=60
CONFIG_MQTT_TRANSPORT_THREAD_STACK_SIZE=4096
CONFIG_MQTT_HELPER_HELIOGEN_STACK_SIZE=8192
CONFIG_TRANSPORT_MSGQ_LEN=50
CONFIG_MQTT_HELPER_HELIOGEN_RX_TX_BUFFER_SIZE=1024

# 3 minute keepalive
CONFIG_MQTT_KEEPALIVE=180

#######################################################################
# END MQTT
#######################################################################


#HW ID library - use mac address as hw id
CONFIG_HW_ID_LIBRARY=y
CONFIG_HW_ID_LIBRARY_SOURCE_NET_MAC=y #use mac address as hw id

CONFIG_WIFI_LOG_LEVEL_OFF=y
#END WI-FI ONLY CONFIG
#################################
```

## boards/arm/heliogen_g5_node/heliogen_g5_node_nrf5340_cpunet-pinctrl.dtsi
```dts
&pinctrl {

};
```

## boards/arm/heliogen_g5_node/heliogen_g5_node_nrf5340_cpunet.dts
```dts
/*
 * Copyright (c) 2022 Nordic Semiconductor ASA
 *
 * SPDX-License-Identifier: LicenseRef-Nordic-5-Clause
 */

/dts-v1/;
#include <nordic/nrf5340_cpunet_qkaa.dtsi>
#include "heliogen_g5_node_nrf5340_cpunet-pinctrl.dtsi"

/ {
	model = "Heliogen G5 NODE NRF5340 Network";
	compatible = "nordic,nrf7002-dk-nrf5340-cpunet";

	chosen {
		zephyr,console = &uart0;
		zephyr,shell-uart = &uart0;
		zephyr,uart-mcumgr = &uart0;
		zephyr,bt-mon-uart = &uart0;
		zephyr,bt-c2h-uart = &uart0;
		zephyr,bt-hci-ipc = &ipc0;
		zephyr,sram = &sram1;
		zephyr,flash = &flash1;
		zephyr,code-partition = &slot0_partition;
	};

	leds {
		compatible = "gpio-leds";
		led0: led_0 {
			gpios = <&gpio0 24 GPIO_ACTIVE_HIGH>;
			label = "User LED 0";
		};
		led1: led_1 {
			gpios = <&gpio1 8 GPIO_ACTIVE_HIGH>;
			label = "User LED 1";
		};
	};
	/*
	buttons {
		compatible = "gpio-keys";
		button0: button_0 {
			gpios = <&gpio1 8 (GPIO_PULL_UP | GPIO_ACTIVE_LOW)>;
			label = "Push button 1";
		};
		button1: button_1 {
			gpios = <&gpio1 9 (GPIO_PULL_UP | GPIO_ACTIVE_LOW)>;
			label = "Push button 2";
		};
	};
	*/

	/*
	DK definitions
	nrf_radio_coex: nrf7002-coex {
		status = "okay";
		compatible = "nordic,nrf700x-coex";
		req-gpios = <&gpio0 28 GPIO_ACTIVE_HIGH>;
		status0-gpios = <&gpio0 30 GPIO_ACTIVE_HIGH>;
		grant-gpios = <&gpio0 24 GPIO_ACTIVE_HIGH>;
		swctrl1-gpios = <&gpio0 29 GPIO_ACTIVE_HIGH>;
	};
	*/
	/* G5 definitions - this pins are not actually connected to the 7002*/
	nrf_radio_coex: nrf7002-coex {
		status = "okay";
		compatible = "nordic,nrf700x-coex";
		req-gpios = <&gpio1 13 GPIO_ACTIVE_HIGH>;
		status0-gpios = <&gpio1 14 GPIO_ACTIVE_HIGH>;
		grant-gpios = <&gpio1 11 GPIO_ACTIVE_HIGH>;
		swctrl1-gpios = <&gpio0 29 GPIO_ACTIVE_HIGH>;
	};

	/* These aliases are provided for compatibility with samples */
	aliases {
		led0 = &led0;
		led1 = &led1;
		bootloader-led0 = &led0;
	};

};

&gpiote {
	status = "okay";
};

&gpio0 {
	status = "okay";
};

&gpio1 {
	status = "okay";
};


&timer0 {
	status = "okay";
};

&timer1 {
	status = "okay";
};

&timer2 {
	status = "okay";
};

&flash1 {

	partitions {
		compatible = "fixed-partitions";
		#address-cells = <1>;
		#size-cells = <1>;

		boot_partition: partition@0 {
			label = "mcuboot";
			reg = <0x00000000 0xc000>;
		};
		slot0_partition: partition@c000 {
			label = "image-0";
			reg = <0x0000C000 0x12000>;
		};
		slot1_partition: partition@1e000 {
			label = "image-1";
			reg = <0x0001E000 0x12000>;
		};
		scratch_partition: partition@30000 {
			label = "image-scratch";
			reg = <0x00030000 0xa000>;
		};
		storage_partition: partition@3a000 {
			label = "storage";
			reg = <0x0003a000 0x6000>;
		};
	};
};

/*
 * Extra IPC channel for custom NET<->APP communication (ICMsg backend).
 *
 * This instance is independent of the default OpenAMP/static-vrings instance
 * (ipc0). The shared SRAM regions are defined in
 * nrf5340_shared_sram_planning_conf.dts.
 *
 * IMPORTANT: compared to the APP core, tx/rx regions and MBOX channels are
 * swapped, as required by the ICMsg backend.
 */
/ {
	ipc_icmsg0: ipc_icmsg0 {
		compatible = "zephyr,ipc-icmsg";
		/* Swap tx/rx relative to CPUAPP */
		tx-region = <&sram0_icmsg_rx>;
		rx-region = <&sram0_icmsg_tx>;
		/* Swap channels relative to CPUAPP */
		mboxes = <&mbox 3>, <&mbox 2>;
		mbox-names = "tx", "rx";
		status = "okay";
	};
};

/* Include shared RAM configuration file */
#include "nrf5340_shared_sram_planning_conf.dts"
```

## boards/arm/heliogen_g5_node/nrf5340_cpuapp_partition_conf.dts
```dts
/*
 * Copyright (c) 2022 Nordic Semiconductor ASA
 *
 * SPDX-License-Identifier: LicenseRef-Nordic-5-Clause
 */

/*
 * Default Flash planning for heliogen_g5_r1_nrf5340 CPUAPP (Application MCU).
 *
 * Zephyr build for nRF5340 with ARM TrustZone-M support,
 * implies building Secure and Non-Secure Zephyr images.
 *
 * Secure image will be placed, by default, in flash0
 * (or in slot0, if MCUboot is present).
 * Secure image will use sram0 for system memory.
 *
 * Non-Secure image will be placed in slot0_ns, and use
 * sram0_ns for system memory.
 *
 * Note that the Secure image only requires knowledge of
 * the beginning of the Non-Secure image (not its size).
 */

&slot0_partition {
	reg = <0x00010000 0x40000>;
};

&slot0_ns_partition {
	reg = <0x00050000 0x30000>;
};

&slot1_partition {
	reg = <0x00080000 0x40000>;
};

&slot1_ns_partition {
	reg = <0x000c0000 0x30000>;
};

/* Default SRAM planning when building for nRF5340 with
 * ARM TrustZone-M support
 * - Lowest 256 kB SRAM allocated to Secure image (sram0_s)
 * - Middle 192 kB allocated to Non-Secure image (sram0_ns)
 * - Upper 64 kB SRAM allocated as Shared memory (sram0_shared)
 *   (see nrf5340_shared_sram_planning_conf.dts)
 */
&sram0_image {
	reg = <0x20000000 DT_SIZE_K(448)>;
};

&sram0_s {
	reg = <0x20000000 DT_SIZE_K(256)>;
};

&sram0_ns {
	reg = <0x20040000 DT_SIZE_K(192)>;
};

/* Include shared RAM configuration file */
#include "nrf5340_shared_sram_planning_conf.dts"
```

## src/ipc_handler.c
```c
#include <zephyr/kernel.h>
#include <zephyr/device.h>
#include <zephyr/ipc/ipc_service.h>
#include <zephyr/logging/log.h>

LOG_MODULE_REGISTER(ipc_handler, LOG_LEVEL_INF);

static struct ipc_ept ept;

/* IPC Message Types (match NET core) */
#define ESB_IPC_MSG_TYPE_TX      0x01
#define ESB_IPC_MSG_TYPE_RX      0x02
 
struct esb_ipc_msg {
    uint8_t type;
    uint8_t length;
    uint8_t data[32];
} __packed;

static void recv_cb(const void *data, size_t len, void *priv)
{
	ARG_UNUSED(priv);

	// /* Print as a string (we’ll send without '\0' from NET) */
	// LOG_INF("NET->APP (%u bytes): %.*s",
	// 	(unsigned int)len, (int)len, (const char *)data);

	const struct esb_ipc_msg *msg = (const struct esb_ipc_msg *)data;
    if (msg->type == ESB_IPC_MSG_TYPE_RX) {
        LOG_INF("Wireless RX: %d bytes: %.*s", msg->length, msg->length, msg->data);
        // Process received wireless data here
    }
}
```

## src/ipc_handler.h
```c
#ifndef IPC_HANDLER_H
#define IPC_HANDLER_H

// #include <zephyr.h>
// #include <sys/printk.h>
// #include <logging/log.h>

// LOG_MODULE_REGISTER(ipc_handler);

// static void recv_cb(const void *data, size_t len, void *priv);

// struct esb_ipc_msg;

// const struct esb_ipc_msg *get_latest_rx_msg(void);

#include <stddef.h>

#define ESB_IPC_MSG_TYPE_TX      0x01
#define ESB_IPC_MSG_TYPE_RX      0x02
#define ESB_IPC_MSG_TYPE_STATUS  0x03

struct esb_ipc_msg {
	uint8_t type;
	uint8_t length;
	uint8_t data[32];
} __packed;

const char *get_latest_rx_string(size_t *out_len);
int ipc_send_and_wait(const void *data, size_t len, k_timeout_t timeout);
int ipc_send_msg(struct esb_ipc_msg *msg);

#endif /* IPC_HANDLER_H */
```
